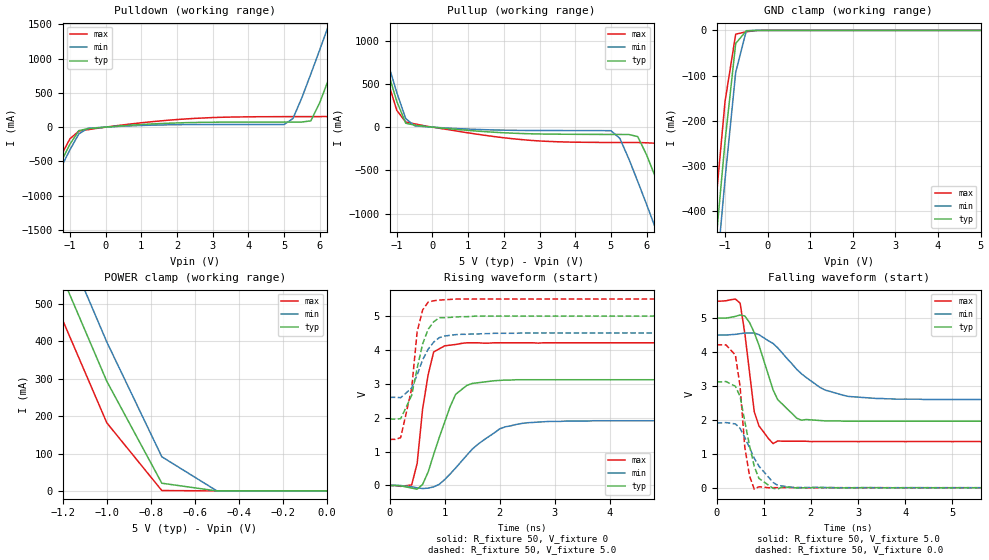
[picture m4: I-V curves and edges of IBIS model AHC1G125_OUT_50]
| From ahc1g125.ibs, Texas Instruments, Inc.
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|   Model AHC1G125_OUT_50
[Model]   AHC1G125_OUT_50
Model_type  3-state
Polarity   Non-Inverting
Enable   Active-Low
Vmeas = 2.5v
Cref = 15pf
| variable   typ   min   max
C_comp   4.1pf   3.075pf   5.125pf
[Temperature Range]   25   85   -40
[Voltage Range]   5.0   4.5   5.5
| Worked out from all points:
|   slope of the pulldown table from 0 to 0.75 V, typ, clamps not added: 24.8 ohm
|   slope of the pullup table from 0 to 0.75 V, typ, clamps not added: 25.9 ohm
|   GND clamp passes 1 mA (typ) near -0.50 V on its own axis
|   POWER clamp passes 1 mA (typ) near -0.51 V on its own axis
|   rising waveform, R_fixture 50, V_fixture 0: 20-80 % time 402ps typ, 756ps min, 203ps max; typ from 0 V to 3.12 V
|   falling waveform, R_fixture 50, V_fixture 5.0: 20-80 % time 469ps typ, 870ps min, 226ps max; typ from 5 V to 1.96 V
|   rising waveform, R_fixture 50, V_fixture 5.0: 20-80 % time 276ps typ, 321ps min, 213ps max; typ from 1.96 V to 5 V
|   falling waveform, R_fixture 50, V_fixture 0.0: 20-80 % time 275ps typ, 476ps min, 183ps max; typ from 3.12 V to 0 V
[Pulldown]
|   Voltage   I(typ)   I(min)   I(max)
-5V       -4.66A     -4.73A     -4.58A
-2.25V    -1.6A      -1.68A     -1.51A
-2V       -1.32A     -1.4A      -1.23A
-1V       -250mA     -331mA     -170mA
-500mV    -23.5mA    -16.1mA    -37.4mA
5V        74.6mA     38.5mA     154mA
5.75V     91.7mA     776mA      154mA
6.25V     701mA      1.49A      155mA
6.75V     1.42A      2.22A      657mA
7.25V     2.15A      2.96A      1.38A
7.5V      2.52A      3.33A      1.75A
10V       6.23A      7.04A      5.45A
[Pullup]
|   Voltage   I(typ)   I(min)   I(max)
-5V       6.17A      6.26A      6.07A
-1.75V    1.36A      1.46A      1.25A
-1.5V     996mA      1.1A       886mA
-1V       298mA      400mA      194mA
-750mV    45.7mA     98.7mA     59.2mA
-500mV    23mA       14.9mA     37.9mA
5V        -84.3mA    -40.9mA    -178mA
5.75V     -109mA     -626mA     -178mA
6.25V     -581mA     -1.17A     -186mA
6.75V     -1.12A     -1.71A     -574mA
7.25V     -1.67A     -2.27A     -1.12A
10V       -4.73A     -5.33A     -4.18A
[GND Clamp]
|   Voltage   I(typ)   I(min)   I(max)
-5V       -4.66A     -4.73A     -4.58A
-1.5V     -774mA     -858mA     -684mA
-1.25V    -505mA     -590mA     -415mA
-1V       -245mA     -329mA     -157mA
-750mV    -28.8mA    -92.4mA    -8.32mA
-500mV    -878uA     -589uA     -2.99mA
-250mV    -21.8nA    -122nA     -114uA
5V        2nA        199uA      1.9nA
[POWER Clamp]
|   Voltage   I(typ)   I(min)   I(max)
-5V       6.17A      6.26A      6.07A
-1.25V    637mA      743mA      524mA
-1V       293mA      398mA      182mA
-750mV    20.6mA     91.3mA     1.05mA
-500mV    2.09uA     199uA      42uA
0V        2nA        1.97nA     2.2nA
[Ramp]
| variable   typ   min   max
dV/dt_r   1.89E+00/4.16E-10   1.16E+00/7.38E-10   2.53E+00/1.74E-10
dV/dt_f   1.88E+00/4.79E-10   1.18E+00/8.94E-10   2.28E+00/2.39E-10
R_load = 50
[Rising Waveform]
R_fixture = 50
V_fixture = 0
|   Time   V(typ)   V(min)   V(max)
0s        0V         0V         0V
400ps     -75.9mV    -38.9mV    15mV
500ps     -109mV     -70.4mV    653mV
600ps     32.8mV     -90mV      2.27V
800ps     916mV      -42mV      3.94V
1.2ns     2.69V      517mV      4.16V
1.4ns     2.95V      888mV      4.21V
2ns       3.1V       1.67V      4.21V
2.9ns     3.12V      1.89V      4.21V
25ns      3.12V      1.91V      4.21V
[Falling Waveform]
R_fixture = 50
V_fixture = 5.0
V_fixture_min = 4.5
V_fixture_max = 5.5
|   Time   V(typ)   V(min)   V(max)
0s        5V         4.5V       5.5V
500ps     5.09V      4.54V      5.44V
600ps     5.06V      4.56V      4.55V
800ps     4.57V      4.56V      2.24V
900ps     4.2V       4.51V      1.82V
1.2ns     2.88V      4.25V      1.3V
1.8ns     1.99V      3.36V      1.37V
2.3ns     1.97V      2.88V      1.36V
3.4ns     1.96V      2.63V      1.36V
25ns      1.96V      2.6V       1.36V
[Rising Waveform]
R_fixture = 50
V_fixture = 5.0
V_fixture_min = 4.5
V_fixture_max = 5.5
|   Time   V(typ)   V(min)   V(max)
0s        1.96V      2.6V       1.36V
200ps     1.97V      2.59V      1.41V
400ps     2.66V      2.88V      2.86V
500ps     3.46V      3.26V      4.54V
600ps     4.18V      3.71V      5.18V
700ps     4.61V      4.02V      5.41V
900ps     4.95V      4.36V      5.47V
1.3ns     4.98V      4.46V      5.5V
2.4ns     5V         4.5V       5.5V
25ns      5V         4.5V       5.5V
[Falling Waveform]
R_fixture = 50
V_fixture = 0.0
|   Time   V(typ)   V(min)   V(max)
0s        3.12V      1.91V      4.21V
400ps     2.99V      1.88V      3.91V
500ps     2.69V      1.75V      2.98V
600ps     1.95V      1.48V      1.19V
700ps     1.24V      1.18V      344mV
800ps     628mV      867mV      -42.6mV
900ps     273mV      633mV      28.6mV
1.2ns     -18.4mV    156mV      978uV
1.7ns     -4.3mV     4.04mV     1.21mV
25ns      0V         0V         0V
